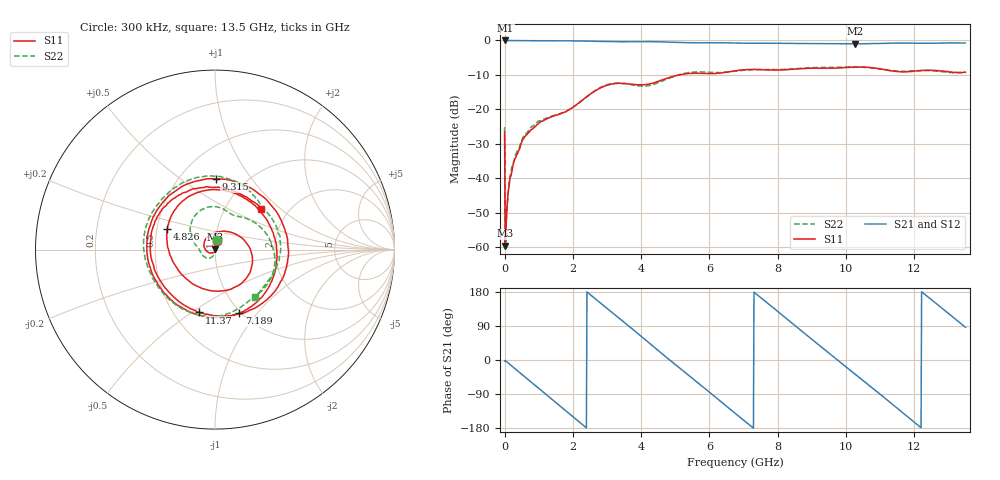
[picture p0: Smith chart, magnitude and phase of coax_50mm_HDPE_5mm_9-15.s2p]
!Agilent Technologies,N5230C,MY48100320,A.08.04.10
!Agilent N5230C: A.08.04.10
!Date: Thursday, September 15, 2016 22:10:22
!Correction: S11(Full 2 Port(1,2))
!S21(Full 2 Port(1,2))
!S12(Full 2 Port(1,2))
!S22(Full 2 Port(1,2))
!S2P File: Measurements: S11, S21, S12, S22:
# Hz S  dB  R 50
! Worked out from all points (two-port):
!   801 points, 300 kHz to 13.5 GHz, reference 50 ohm
!   highest |S21| = 0.00 dB at 17.17 MHz (marker M1); lowest = -1.0 dB at 10.26 GHz (marker M2)
!   |S21| within 3 dB of the highest: start of sweep to end of sweep
!   lowest |S11| = -59.6 dB at 17.17 MHz (marker M3), VSWR 1.00, Z = 50 + j0.103 ohm
!   |S11| at or under -10 dB: start of sweep to 5.139 GHz
!   |S22| runs from -59.8 to -7.6 dB; largest |S21 - S12| = 0.0049
!   S11 on the Smith chart (normalised r, x): 300 kHz: 1.01, +0.09; 4.826 GHz: 0.57, +0.14; 7.189 GHz: 0.98, -0.81; 9.315 GHz: 0.73, +0.69; 11.37 GHz: 0.67, -0.54; 13.5 GHz: 1.46, +0.76
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300000  -26.69 78.5  -0.07 -2.9  -0.07 -2.9  -25.17 77.5
1.717462e7  -59.64 97.5  -0.00 -1.5  -0.00 -1.5  -53.13 69.9
8.467312e7  -46.22 -69.2  -0.02 -6.5  -0.02 -6.5  -47.23 -70.3
2.027955e8  -38.51 -100.0  -0.04 -15.3  -0.04 -15.3  -37.25 -80.8
5.234134e8  -28.96 -147.5  -0.05 -39.2  -0.05 -39.2  -28.42 -108.7
1.164649e9  -23.13 151.2  -0.09 -87.0  -0.09 -87.0  -22.80 -148.4
2.2615e9  -17.49 45.8  -0.16 -169.0  -0.15 -169.0  -17.51 157.6
2.801488e9  -13.83 -5.0  -0.28 150.8  -0.28 150.8  -13.66 127.7
3.459598e9  -12.53 -62.6  -0.36 102.7  -0.36 102.7  -12.44 88.4
4.505825e9  -11.87 -175.9  -0.40 24.5  -0.39 24.5  -12.24 45.5
4.826443e9  -10.77 156.8  -0.48 0.7  -0.50 0.6  -10.97 26.0
5.87267e9  -9.59 67.9  -0.67 -75.5  -0.66 -75.6  -9.16 -39.2
6.75015e9  -8.82 -29.3  -0.73 -140.4  -0.74 -140.4  -8.92 -73.1
7.18889e9  -8.42 -69.3  -0.81 -172.4  -0.81 -172.5  -8.52 -96.4
8.201368e9  -8.52 -161.2  -0.85 113.4  -0.85 113.4  -8.41 -152.8
9.01135e9  -8.06 119.6  -0.92 53.9  -0.92 53.9  -7.89 169.6
9.315093e9  -8.07 89.5  -0.93 31.9  -0.93 31.9  -7.83 155.6
1.026007e10  -7.76 -0.6  -0.98 -36.8  -0.98 -36.8  -7.66 106.1
1.125567e10  -8.68 -91.2  -0.81 -109.0  -0.80 -109.1  -8.66 53.7
1.13738e10  -8.85 -104.2  -0.80 -117.8  -0.78 -117.8  -8.80 49.0
1.23694e10  -8.69 152.3  -0.81 169.1  -0.81 169.0  -8.71 4.3
1.35e10  -9.27 41.6  -0.74 86.3  -0.74 86.2  -9.24 -49.7
